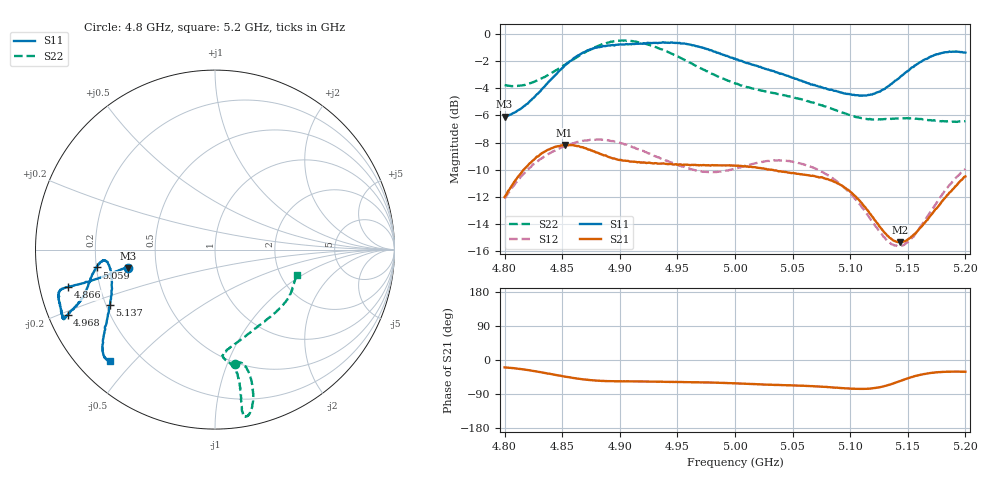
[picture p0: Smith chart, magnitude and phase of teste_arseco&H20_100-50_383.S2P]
! Network Analyzer HP8722D
! Hewlett-Packard
! Data name: Linha & Wilkinson
! Saver's name: Rodrigo Anjos
! Comments: Teste da utilização de aquisição
! continua pelo VNA HP8722D
! Time and date: 6/5/2025 15:45
!  Frequency  S11  S21  S12  S22
# HZ  S  MA R 50
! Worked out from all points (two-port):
!   401 points, 4.8 GHz to 5.2 GHz, reference 50 ohm
!   highest |S21| = -8.17 dB at 4.852 GHz (marker M1); lowest = -15.3 dB at 5.143 GHz (marker M2)
!   |S21| within 3 dB of the highest: 4.806 GHz to 5.093 GHz (286.7 MHz wide, 5.79 % of centre); 5.191952 GHz to end of sweep
!   lowest |S11| = -6.1 dB at 4.8 GHz (marker M3), VSWR 2.97, Z = 17 - j4.61 ohm
!   |S11| at or under -10 dB: nowhere
!   |S22| runs from -6.5 to -0.5 dB; largest |S21 - S12| = 0.62
!   S11 on the Smith chart (normalised r, x): 4.8 GHz: 0.34, -0.09; 4.866 GHz: 0.09, -0.12; 4.968 GHz: 0.06, -0.21; 5.059 GHz: 0.20, -0.07; 5.137 GHz: 0.22, -0.23; 5.2 GHz: 0.09, -0.43
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4.8e9  0.4964 -168.1  0.2513 -19.5  0.2477 -140.7  0.6488 -80.3
4.823e9  0.5698 -167.5  0.3368 -27.9  0.3248 -143.6  0.6602 -76.0
4.852e9  0.7633 -165.7  0.3904 -43.6  0.3869 -149.2  0.7684 -74.5
4.866e9  0.8435 -165.7  0.3836 -50.2  0.4023 -151.7  0.836 -75.2
4.867e9  0.8479 -165.7  0.3831 -50.6  0.4029 -151.8  0.8428 -75.4
4.879e9  0.8906 -165.5  0.3669 -54.1  0.4081 -153.9  0.8951 -76.6
4.899e9  0.9131 -162.8  0.3439 -56.3  0.3986 -156.6  0.9438 -79.0
4.934e9  0.9272 -156.3  0.3332 -57.5  0.3513 -155.5  0.8842 -80.4
4.968e9  0.8979 -156.1  0.3292 -59.0  0.3135 -147.5  0.756 -79.6
5e9  0.8109 -158.8  0.3274 -61.6  0.3197 -137.1  0.6576 -81.2
5.033e9  0.7298 -164.7  0.3159 -65.4  0.3416 -134.2  0.6065 -85.4
5.059e9  0.6671 -171.4  0.3039 -68.1  0.3322 -135.9  0.5724 -84.5
5.067e9  0.6516 -172.9  0.3008 -68.9  0.3236 -136.6  0.5594 -82.6
5.084e9  0.6234 -174.6  0.2894 -72.2  0.2957 -138.2  0.5304 -76.4
5.103e9  0.5974 -171.3  0.2559 -76.0  0.2507 -138.6  0.4981 -65.2
5.117e9  0.5966 -164.8  0.2184 -75.5  0.2101 -135.1  0.4868 -55.2
5.134e9  0.6457 -154.3  0.1782 -65.2  0.1708 -120.8  0.4863 -43.3
5.137e9  0.6607 -152.4  0.1743 -62.4  0.168 -116.9  0.4879 -41.5
5.143e9  0.691 -149.2  0.171 -55.9  0.1656 -109.1  0.4879 -38.0
5.154e9  0.7546 -144.4  0.1806 -44.5  0.1787 -95.1  0.4879 -32.3
5.173e9  0.836 -138.7  0.2236 -33.2  0.2326 -80.7  0.4809 -24.2
5.2e9  0.8532 -133.4  0.299 -31.1  0.3186 -76.8  0.4774 -17.6
